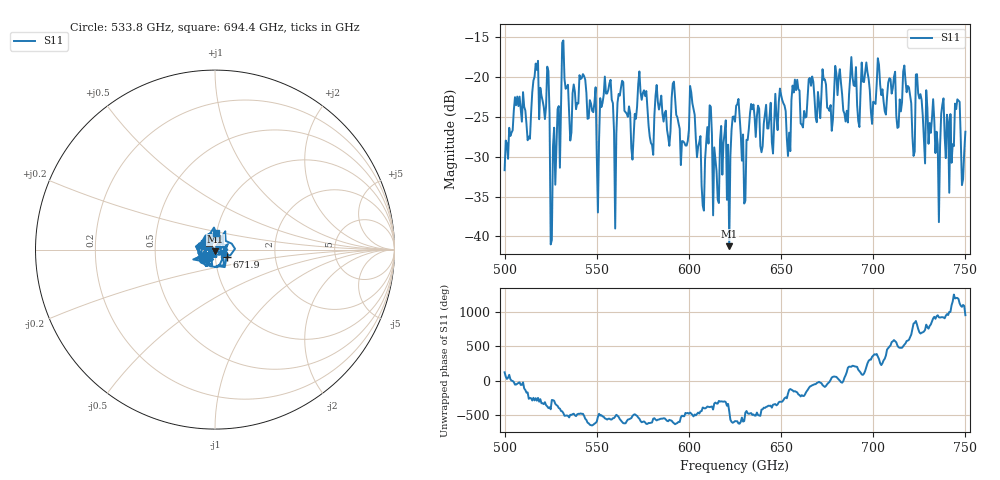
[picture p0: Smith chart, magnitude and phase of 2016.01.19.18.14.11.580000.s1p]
!Created with skrf (http://scikit-rf.org).
# GHz S RI R 50.0
!freq ReS11 ImS11
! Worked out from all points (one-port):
!   401 points, 500 GHz to 750 GHz, reference 50 ohm
!   lowest |S11| = -41.2 dB at 621.9 GHz (marker M1), VSWR 1.02, Z = 50.1 - j0.862 ohm
!   |S11| at or under -10 dB: start of sweep to end of sweep
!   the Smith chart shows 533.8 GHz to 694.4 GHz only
!   S11 on the Smith chart (normalised r, x): 533.8 GHz: 0.87, -0.09; 671.9 GHz: 1.13, -0.10; 694.4 GHz: 0.99, +0.19
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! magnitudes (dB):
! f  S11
! 500 GHz  -31.7
! 506.9 GHz  -22.5
! 513.1 GHz  -27.5
! 516.9 GHz  -18.3
! 523.1 GHz  -18.7
! 526.2 GHz  -28.7
! 531.2 GHz  -15.7
! 533.8 GHz  -21.3
! 542.5 GHz  -19.7
! 551.2 GHz  -27.9
! 553.1 GHz  -23.3
! 560 GHz  -39.0
! 562.5 GHz  -22.4
! 570 GHz  -27.6
! 573.8 GHz  -21.9
! 593.8 GHz  -25.1
! 621.9 GHz  -41.2
! 625 GHz  -25.6
! 630 GHz  -35.9
! 634.4 GHz  -24.1
! 656.2 GHz  -21.1
! 671.9 GHz  -22.3
! 687.5 GHz  -20.1
! 694.4 GHz  -20.6
! 718.8 GHz  -21.1
! 735 GHz  -28.5
! 745.6 GHz  -22.8
! 750 GHz  -26.9
